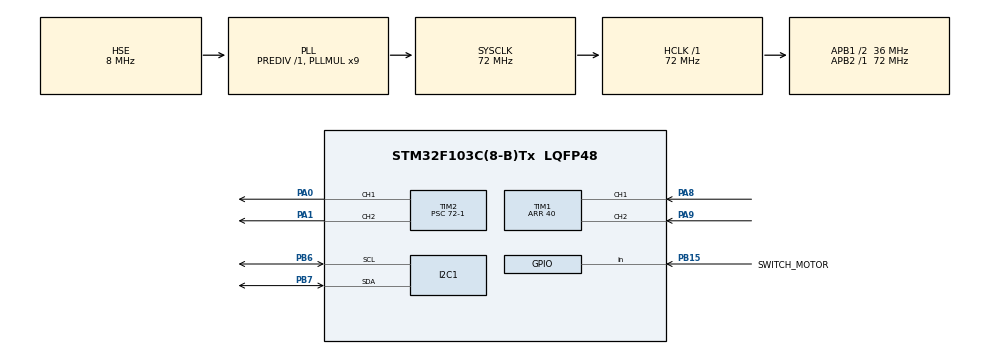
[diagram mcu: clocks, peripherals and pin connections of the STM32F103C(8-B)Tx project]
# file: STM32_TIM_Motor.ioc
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I2C1.I2C_Mode=I2C_Fast
Mcu.Family=STM32F1
Mcu.Name=STM32F103C(8-B)Tx
Mcu.Package=LQFP48
NVIC.PriorityGroup=NVIC_PRIORITYGROUP_4
PA0-WKUP.Signal=S_TIM2_CH1_ETR
PA1.Signal=S_TIM2_CH2
PA13.Mode=Serial_Wire
PA13.Signal=SYS_JTMS-SWDIO
PA14.Mode=Serial_Wire
PA14.Signal=SYS_JTCK-SWCLK
PA8.Signal=S_TIM1_CH1
PA9.Signal=S_TIM1_CH2
PB15.GPIO_Label=SWITCH_MOTOR
PB15.GPIO_PuPd=GPIO_PULLUP
PB15.Signal=GPIO_Input
PB6.Mode=I2C
PB6.Signal=I2C1_SCL
PB7.Mode=I2C
PB7.Signal=I2C1_SDA
PD0-OSC_IN.Mode=HSE-External-Oscillator
PD0-OSC_IN.Signal=RCC_OSC_IN
PD1-OSC_OUT.Mode=HSE-External-Oscillator
PD1-OSC_OUT.Signal=RCC_OSC_OUT
ProjectManager.HeapSize=0x200
ProjectManager.StackSize=0x400
ProjectManager.TargetToolchain=STM32CubeIDE
RCC.AHBFreq_Value=72000000
RCC.APB1CLKDivider=RCC_HCLK_DIV2
RCC.APB1Freq_Value=36000000
RCC.APB1TimFreq_Value=72000000
RCC.APB2Freq_Value=72000000
RCC.APB2TimFreq_Value=72000000
RCC.HCLKFreq_Value=72000000
RCC.PLLMUL=RCC_PLL_MUL9
RCC.PLLSourceVirtual=RCC_PLLSOURCE_HSE
RCC.SYSCLKFreq_VALUE=72000000
RCC.SYSCLKSource=RCC_SYSCLKSOURCE_PLLCLK
RCC.USBFreq_Value=72000000
SH.S_TIM1_CH1.0=TIM1_CH1,Encoder_Interface
SH.S_TIM1_CH2.0=TIM1_CH2,Encoder_Interface
SH.S_TIM2_CH1_ETR.0=TIM2_CH1,PWM Generation1 CH1
SH.S_TIM2_CH2.0=TIM2_CH2,PWM Generation2 CH2
TIM1.Period=40
TIM2.Channel-PWM\ Generation1\ CH1=TIM_CHANNEL_1
TIM2.Channel-PWM\ Generation2\ CH2=TIM_CHANNEL_2
TIM2.Period=100-1
TIM2.Prescaler=72-1
VP_TIM2_VS_ClockSourceINT.Mode=Internal
board=custom

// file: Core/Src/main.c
/* USER CODE BEGIN Header */
/**
  ******************************************************************************
  * @file           : main.c
  * @brief          : Main program body
  ******************************************************************************
  * @attention
  *
  * Copyright (c) 2025 STMicroelectronics.
  * All rights reserved.
  *
  * This software is licensed under terms that can be found in the LICENSE file
  * in the root directory of this software component.
  * If no LICENSE file comes with this software, it is provided AS-IS.
  *
  ******************************************************************************
  */
/* USER CODE END Header */
#include "main.h"
#include "i2c.h"
#include "tim.h"
#include "gpio.h"

/* USER CODE BEGIN Includes */
#include "oled.h"
#include "drv8833.h"
#include "stdio.h"
#include "string.h"
/* USER CODE END Includes */

/* USER CODE BEGIN PV */
#define COUNT_MID 20
/* USER CODE END PV */

void SystemClock_Config(void);

int main(void)
{

  /* MCU Configuration--------------------------------------------------------*/

  /* Reset of all peripherals, Initializes the Flash interface and the Systick. */
  HAL_Init();

  /* Configure the system clock */
  SystemClock_Config();

  /* Initialize all configured peripherals */
  MX_GPIO_Init();
  MX_TIM2_Init();
  MX_TIM1_Init();
  MX_I2C1_Init();
  /* USER CODE BEGIN 2 */
    HAL_Delay(20);
    OLED_Init();
    OLED_Startup();

    HAL_TIM_Encoder_Start(&htim1,TIM_CHANNEL_ALL);
    __HAL_TIM_SET_COUNTER(&htim1,COUNT_MID);;
    //HAL_TIM_PWM_Start(&htim2,TIM_CHANNEL_1);
    ///HAL_TIM_PWM_Start(&htim2,TIM_CHANNEL_2);
    DRV8833_Init();

    int count=0;
    int speed=0;//0-100
    char message1[30];
    char message2[30];
  /* USER CODE END 2 */

  /* Infinite loop */
  /* USER CODE BEGIN WHILE */
  while (1)
  {
      if (HAL_GPIO_ReadPin(SWITCH_MOTOR_GPIO_Port,SWITCH_MOTOR_Pin)==GPIO_PIN_RESET)
      {
          HAL_Delay(10);
          if (HAL_GPIO_ReadPin(SWITCH_MOTOR_GPIO_Port,SWITCH_MOTOR_Pin)==GPIO_PIN_RESET)
          {
              __HAL_TIM_SET_COUNTER(&htim1,20);
              while (HAL_GPIO_ReadPin(SWITCH_MOTOR_GPIO_Port,SWITCH_MOTOR_Pin)==GPIO_PIN_RESET);
          }

      }

      count= __HAL_TIM_GET_COUNTER(&htim1);

      OLED_NewFrame();;
      sprintf(message1,"Count:%d",count);
      OLED_PrintASCIIString(0,0,message1,&afont16x8,OLED_COLOR_NORMAL);

      if (count<COUNT_MID)
      {
        speed=(COUNT_MID-count)*100/COUNT_MID;
          DRV8833_Backward(speed);
      } else
      {
          speed=(count-COUNT_MID)*100/COUNT_MID;
          DRV8833_Forward(speed);
      }

      sprintf(message2,"Speed:%d",speed);
      OLED_PrintASCIIString(0,17,message2,&afont16x8,OLED_COLOR_NORMAL);
      OLED_ShowFrame();

      HAL_Delay(20);
    /* USER CODE END WHILE */

  }
}

void SystemClock_Config(void)
{
  RCC_OscInitTypeDef RCC_OscInitStruct = {0};
  RCC_ClkInitTypeDef RCC_ClkInitStruct = {0};

  /** Initializes the RCC Oscillators according to the specified parameters
  * in the RCC_OscInitTypeDef structure.
  */
  RCC_OscInitStruct.OscillatorType = RCC_OSCILLATORTYPE_HSE;
  RCC_OscInitStruct.HSEState = RCC_HSE_ON;
  RCC_OscInitStruct.HSEPredivValue = RCC_HSE_PREDIV_DIV1;
  RCC_OscInitStruct.HSIState = RCC_HSI_ON;
  RCC_OscInitStruct.PLL.PLLState = RCC_PLL_ON;
  RCC_OscInitStruct.PLL.PLLSource = RCC_PLLSOURCE_HSE;
  RCC_OscInitStruct.PLL.PLLMUL = RCC_PLL_MUL9;
  if (HAL_RCC_OscConfig(&RCC_OscInitStruct) != HAL_OK)
  {
    Error_Handler();
  }

  /** Initializes the CPU, AHB and APB buses clocks
  */
  RCC_ClkInitStruct.ClockType = RCC_CLOCKTYPE_HCLK|RCC_CLOCKTYPE_SYSCLK
                              |RCC_CLOCKTYPE_PCLK1|RCC_CLOCKTYPE_PCLK2;
  RCC_ClkInitStruct.SYSCLKSource = RCC_SYSCLKSOURCE_PLLCLK;
  RCC_ClkInitStruct.AHBCLKDivider = RCC_SYSCLK_DIV1;
  RCC_ClkInitStruct.APB1CLKDivider = RCC_HCLK_DIV2;
  RCC_ClkInitStruct.APB2CLKDivider = RCC_HCLK_DIV1;

  if (HAL_RCC_ClockConfig(&RCC_ClkInitStruct, FLASH_LATENCY_2) != HAL_OK)
  {
    Error_Handler();
  }
}

void Error_Handler(void)
{
  __disable_irq();
  while (1)
  {
  }
}
